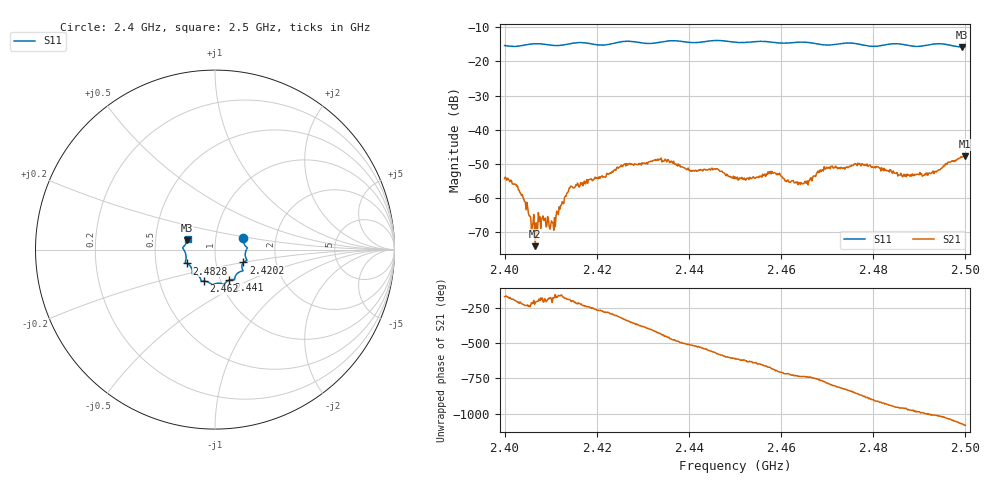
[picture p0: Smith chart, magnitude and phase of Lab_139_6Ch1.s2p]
# Hz S RI R
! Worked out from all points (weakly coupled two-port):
!   601 points, 2.4 GHz to 2.5 GHz, reference 50 ohm
!   highest |S21| = -47.81 dB at 2.4998 GHz (marker M1); lowest = -74.0 dB at 2.4067 GHz (marker M2)
!   lowest |S11| = -15.8 dB at 2.4993 GHz (marker M3), VSWR 1.39, Z = 36.5 + j3.84 ohm
!   |S11| at or under -10 dB: start of sweep to end of sweep
!   S12 and S22 are empty: the file has one direction only
!   S11 on the Smith chart (normalised r, x): 2.4 GHz: 1.36, +0.18; 2.4202 GHz: 1.36, -0.20; 2.441 GHz: 1.10, -0.39; 2.462 GHz: 0.84, -0.30; 2.4828 GHz: 0.72, -0.11; 2.5 GHz: 0.73, +0.09
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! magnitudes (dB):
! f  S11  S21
! 2.4 GHz  -15.4  -54.3
! 2.403 GHz  -15.6  -57.6
! 2.4067 GHz  -14.9  -74.0
! 2.4078 GHz  -14.9  -68.8
! 2.4102 GHz  -15.3  -66.6
! 2.414 GHz  -14.9  -57.0
! 2.4167 GHz  -14.5  -56.0
! 2.4202 GHz  -15.2  -53.9
! 2.4333 GHz  -14.5  -48.9
! 2.441 GHz  -14.6  -51.9
! 2.45 GHz  -14.4  -53.7
! 2.458 GHz  -14.4  -52.2
! 2.462 GHz  -14.6  -55.4
! 2.4667 GHz  -14.6  -55.0
! 2.4698 GHz  -15.2  -51.0
! 2.4765 GHz  -14.9  -50.5
! 2.4828 GHz  -15.1  -51.9
! 2.4833 GHz  -15.0  -51.9
! 2.491 GHz  -15.5  -53.3
! 2.4993 GHz  -15.8  -48.0
! 2.4998 GHz  -15.7  -47.8
! 2.5 GHz  -15.7  -48.1
